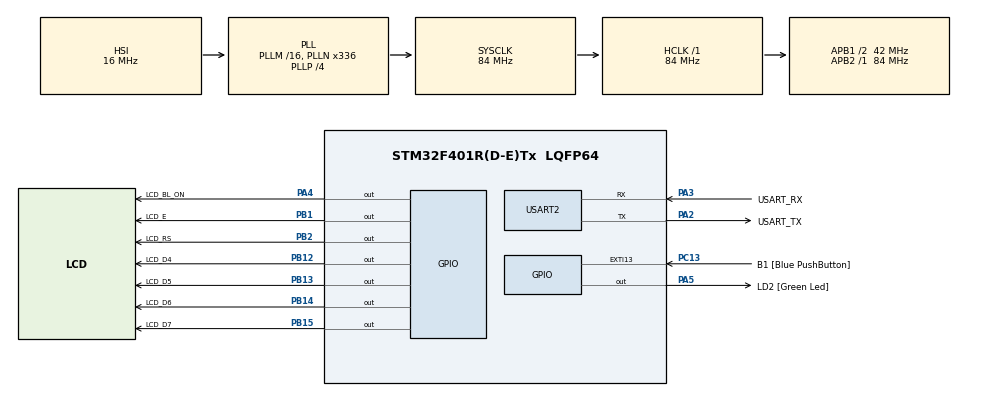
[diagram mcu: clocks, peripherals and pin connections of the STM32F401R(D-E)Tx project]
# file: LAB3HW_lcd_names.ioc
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Mcu.Family=STM32F4
Mcu.Name=STM32F401R(D-E)Tx
Mcu.Package=LQFP64
NVIC.PriorityGroup=NVIC_PRIORITYGROUP_1
NVIC.TIM2_IRQn=true\:1\:6\:true\:false\:true\:true\:true
PA13.GPIO_Label=TMS
PA13.Mode=Serial_Wire
PA13.Signal=SYS_JTMS-SWDIO
PA14.GPIO_Label=TCK
PA14.Mode=Serial_Wire
PA14.Signal=SYS_JTCK-SWCLK
PA2.GPIO_Label=USART_TX
PA2.GPIO_Mode=GPIO_MODE_AF_PP
PA2.GPIO_PuPd=GPIO_NOPULL
PA2.GPIO_Speed=GPIO_SPEED_FREQ_LOW
PA2.Mode=Asynchronous
PA2.Signal=USART2_TX
PA3.GPIO_Label=USART_RX
PA3.GPIO_Mode=GPIO_MODE_AF_PP
PA3.GPIO_PuPd=GPIO_NOPULL
PA3.GPIO_Speed=GPIO_SPEED_FREQ_LOW
PA3.Mode=Asynchronous
PA3.Signal=USART2_RX
PA4.GPIO_Label=LCD_BL_ON
PA4.Signal=GPIO_Output
PA5.GPIO_Label=LD2 [Green Led]
PA5.GPIO_Mode=GPIO_MODE_OUTPUT_PP
PA5.GPIO_PuPd=GPIO_NOPULL
PA5.GPIO_Speed=GPIO_SPEED_FREQ_LOW
PA5.Signal=GPIO_Output
PB1.GPIO_Label=LCD_E
PB1.Signal=GPIO_Output
PB12.GPIO_Label=LCD_D4
PB12.Signal=GPIO_Output
PB13.GPIO_Label=LCD_D5
PB13.Signal=GPIO_Output
PB14.GPIO_Label=LCD_D6
PB14.Signal=GPIO_Output
PB15.GPIO_Label=LCD_D7
PB15.Signal=GPIO_Output
PB2.GPIO_Label=LCD_RS
PB2.Signal=GPIO_Output
PB3.GPIO_Label=SWO
PB3.Signal=SYS_JTDO-SWO
PC13-ANTI_TAMP.GPIO_Label=B1 [Blue PushButton]
PC13-ANTI_TAMP.GPIO_ModeDefaultEXTI=GPIO_MODE_IT_FALLING
PC13-ANTI_TAMP.GPIO_PuPd=GPIO_NOPULL
PC13-ANTI_TAMP.Signal=GPXTI13
PC14-OSC32_IN.Mode=LSE-External-Oscillator
PC14-OSC32_IN.Signal=RCC_OSC32_IN
PC15-OSC32_OUT.Mode=LSE-External-Oscillator
PC15-OSC32_OUT.Signal=RCC_OSC32_OUT
PH0\ -\ OSC_IN.Mode=HSE-External-Clock-Source
PH0\ -\ OSC_IN.Signal=RCC_OSC_IN
PH1\ -\ OSC_OUT.Mode=HSE-External-Clock-Source
PH1\ -\ OSC_OUT.Signal=RCC_OSC_OUT
ProjectManager.HeapSize=0x200
ProjectManager.StackSize=0x400
ProjectManager.TargetToolchain=STM32CubeIDE
RCC.48MHZClocksFreq_Value=48000000
RCC.AHBFreq_Value=84000000
RCC.APB1CLKDivider=RCC_HCLK_DIV2
RCC.APB1Freq_Value=42000000
RCC.APB1TimFreq_Value=84000000
RCC.APB2Freq_Value=84000000
RCC.APB2TimFreq_Value=84000000
RCC.CortexFreq_Value=84000000
RCC.HCLKFreq_Value=84000000
RCC.HSE_VALUE=8000000
RCC.HSI_VALUE=16000000
RCC.PLLN=336
RCC.PLLP=RCC_PLLP_DIV4
RCC.PLLQ=7
RCC.SYSCLKFreq_VALUE=84000000
RCC.SYSCLKSource=RCC_SYSCLKSOURCE_PLLCLK
RCC.VCOOutputFreq_Value=336000000
TIM2.AutoReloadPreload=TIM_AUTORELOAD_PRELOAD_ENABLE
TIM2.Period=21000-1
TIM2.Prescaler=4000-1
USART2.VirtualMode=VM_ASYNC
VP_TIM2_VS_ClockSourceINT.Mode=Internal
board=NUCLEO-F401RE

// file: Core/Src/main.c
/* USER CODE BEGIN Header */
/**
  ******************************************************************************
  * @file           : main.c
  * @brief          : Main program body
  ******************************************************************************
  * @attention
  *
  * <h2><center>&copy; Copyright (c) 2021 STMicroelectronics.
  * All rights reserved.</center></h2>
  *
  * This software component is licensed by ST under BSD 3-Clause license,
  * the "License"; You may not use this file except in compliance with the
  * License. You may obtain a copy of the License at:
  *                        opensource.org/licenses/BSD-3-Clause
  *
  ******************************************************************************
  */
/* USER CODE END Header */
#include "main.h"

/* USER CODE BEGIN Includes */
#include "PMDB16_LCD.h"

/* USER CODE END Includes */

TIM_HandleTypeDef htim2;

UART_HandleTypeDef huart2;

/* USER CODE BEGIN PV */
char names[][11] = {"Alessandro", "Federico","Lorenzo", "Mattia", "Valerio" };
/* USER CODE END PV */

void SystemClock_Config(void);
static void MX_GPIO_Init(void);
static void MX_USART2_UART_Init(void);
static void MX_TIM2_Init(void);

/* USER CODE BEGIN 0 */
void HAL_TIM_PeriodElapsedCallback(TIM_HandleTypeDef *htim){
static int index = 0;
lcd_println(names[index],0);

if(index < 4){
	index++;
}
else{
	index = 0;
}
lcd_println(names[index],1);
}
/* USER CODE END 0 */

int main(void)
{

  /* MCU Configuration--------------------------------------------------------*/

  /* Reset of all peripherals, Initializes the Flash interface and the Systick. */
  HAL_Init();

  /* Configure the system clock */
  SystemClock_Config();

  /* Initialize all configured peripherals */
  MX_GPIO_Init();
  MX_USART2_UART_Init();
  MX_TIM2_Init();
  /* USER CODE BEGIN 2 */
  lcd_initialize();
  lcd_backlight_ON();
  lcd_clear();

  // lcd first row condition
  lcd_println(names[0],1);

  __HAL_TIM_CLEAR_IT(&htim2, TIM_IT_UPDATE);
 if(HAL_TIM_Base_Start_IT(&htim2) != HAL_OK){
	  Error_Handler();
  }

  /* USER CODE END 2 */

  /* Infinite loop */
  while (1)
  {

  }
}

void SystemClock_Config(void)
{
  RCC_OscInitTypeDef RCC_OscInitStruct = {0};
  RCC_ClkInitTypeDef RCC_ClkInitStruct = {0};

  /** Configure the main internal regulator output voltage
  */
  __HAL_RCC_PWR_CLK_ENABLE();
  __HAL_PWR_VOLTAGESCALING_CONFIG(PWR_REGULATOR_VOLTAGE_SCALE2);
  /** Initializes the RCC Oscillators according to the specified parameters
  * in the RCC_OscInitTypeDef structure.
  */
  RCC_OscInitStruct.OscillatorType = RCC_OSCILLATORTYPE_HSI;
  RCC_OscInitStruct.HSIState = RCC_HSI_ON;
  RCC_OscInitStruct.HSICalibrationValue = RCC_HSICALIBRATION_DEFAULT;
  RCC_OscInitStruct.PLL.PLLState = RCC_PLL_ON;
  RCC_OscInitStruct.PLL.PLLSource = RCC_PLLSOURCE_HSI;
  RCC_OscInitStruct.PLL.PLLM = 16;
  RCC_OscInitStruct.PLL.PLLN = 336;
  RCC_OscInitStruct.PLL.PLLP = RCC_PLLP_DIV4;
  RCC_OscInitStruct.PLL.PLLQ = 7;
  if (HAL_RCC_OscConfig(&RCC_OscInitStruct) != HAL_OK)
  {
    Error_Handler();
  }
  /** Initializes the CPU, AHB and APB buses clocks
  */
  RCC_ClkInitStruct.ClockType = RCC_CLOCKTYPE_HCLK|RCC_CLOCKTYPE_SYSCLK
                              |RCC_CLOCKTYPE_PCLK1|RCC_CLOCKTYPE_PCLK2;
  RCC_ClkInitStruct.SYSCLKSource = RCC_SYSCLKSOURCE_PLLCLK;
  RCC_ClkInitStruct.AHBCLKDivider = RCC_SYSCLK_DIV1;
  RCC_ClkInitStruct.APB1CLKDivider = RCC_HCLK_DIV2;
  RCC_ClkInitStruct.APB2CLKDivider = RCC_HCLK_DIV1;

  if (HAL_RCC_ClockConfig(&RCC_ClkInitStruct, FLASH_LATENCY_2) != HAL_OK)
  {
    Error_Handler();
  }
}

static void MX_TIM2_Init(void)
{

  TIM_ClockConfigTypeDef sClockSourceConfig = {0};
  TIM_MasterConfigTypeDef sMasterConfig = {0};

  htim2.Instance = TIM2;
  htim2.Init.Prescaler = 4000-1;
  htim2.Init.CounterMode = TIM_COUNTERMODE_UP;
  htim2.Init.Period = 21000-1;
  htim2.Init.ClockDivision = TIM_CLOCKDIVISION_DIV1;
  htim2.Init.AutoReloadPreload = TIM_AUTORELOAD_PRELOAD_ENABLE;
  if (HAL_TIM_Base_Init(&htim2) != HAL_OK)
  {
    Error_Handler();
  }
  sClockSourceConfig.ClockSource = TIM_CLOCKSOURCE_INTERNAL;
  if (HAL_TIM_ConfigClockSource(&htim2, &sClockSourceConfig) != HAL_OK)
  {
    Error_Handler();
  }
  sMasterConfig.MasterOutputTrigger = TIM_TRGO_RESET;
  sMasterConfig.MasterSlaveMode = TIM_MASTERSLAVEMODE_DISABLE;
  if (HAL_TIMEx_MasterConfigSynchronization(&htim2, &sMasterConfig) != HAL_OK)
  {
    Error_Handler();
  }

}

static void MX_USART2_UART_Init(void)
{

  huart2.Instance = USART2;
  huart2.Init.BaudRate = 115200;
  huart2.Init.WordLength = UART_WORDLENGTH_8B;
  huart2.Init.StopBits = UART_STOPBITS_1;
  huart2.Init.Parity = UART_PARITY_NONE;
  huart2.Init.Mode = UART_MODE_TX_RX;
  huart2.Init.HwFlowCtl = UART_HWCONTROL_NONE;
  huart2.Init.OverSampling = UART_OVERSAMPLING_16;
  if (HAL_UART_Init(&huart2) != HAL_OK)
  {
    Error_Handler();
  }

}

static void MX_GPIO_Init(void)
{
  GPIO_InitTypeDef GPIO_InitStruct = {0};

  /* GPIO Ports Clock Enable */
  __HAL_RCC_GPIOC_CLK_ENABLE();
  __HAL_RCC_GPIOH_CLK_ENABLE();
  __HAL_RCC_GPIOA_CLK_ENABLE();
  __HAL_RCC_GPIOB_CLK_ENABLE();

  /*Configure GPIO pin Output Level */
  HAL_GPIO_WritePin(GPIOA, LCD_BL_ON_Pin|LD2_Pin, GPIO_PIN_RESET);

  /*Configure GPIO pin Output Level */
  HAL_GPIO_WritePin(GPIOB, LCD_E_Pin|LCD_RS_Pin|LCD_D4_Pin|LCD_D5_Pin
                          |LCD_D6_Pin|LCD_D7_Pin, GPIO_PIN_RESET);

  /*Configure GPIO pin : B1_Pin */
  GPIO_InitStruct.Pin = B1_Pin;
  GPIO_InitStruct.Mode = GPIO_MODE_IT_FALLING;
  GPIO_InitStruct.Pull = GPIO_NOPULL;
  HAL_GPIO_Init(B1_GPIO_Port, &GPIO_InitStruct);

  /*Configure GPIO pins : LCD_BL_ON_Pin LD2_Pin */
  GPIO_InitStruct.Pin = LCD_BL_ON_Pin|LD2_Pin;
  GPIO_InitStruct.Mode = GPIO_MODE_OUTPUT_PP;
  GPIO_InitStruct.Pull = GPIO_NOPULL;
  GPIO_InitStruct.Speed = GPIO_SPEED_FREQ_LOW;
  HAL_GPIO_Init(GPIOA, &GPIO_InitStruct);

  /*Configure GPIO pins : LCD_E_Pin LCD_RS_Pin LCD_D4_Pin LCD_D5_Pin
                           LCD_D6_Pin LCD_D7_Pin */
  GPIO_InitStruct.Pin = LCD_E_Pin|LCD_RS_Pin|LCD_D4_Pin|LCD_D5_Pin
                          |LCD_D6_Pin|LCD_D7_Pin;
  GPIO_InitStruct.Mode = GPIO_MODE_OUTPUT_PP;
  GPIO_InitStruct.Pull = GPIO_NOPULL;
  GPIO_InitStruct.Speed = GPIO_SPEED_FREQ_LOW;
  HAL_GPIO_Init(GPIOB, &GPIO_InitStruct);

}

void Error_Handler(void)
{
  __disable_irq();
  while (1)
  {
  }
}

/************************ (C) COPYRIGHT STMicroelectronics *****END OF FILE****/
